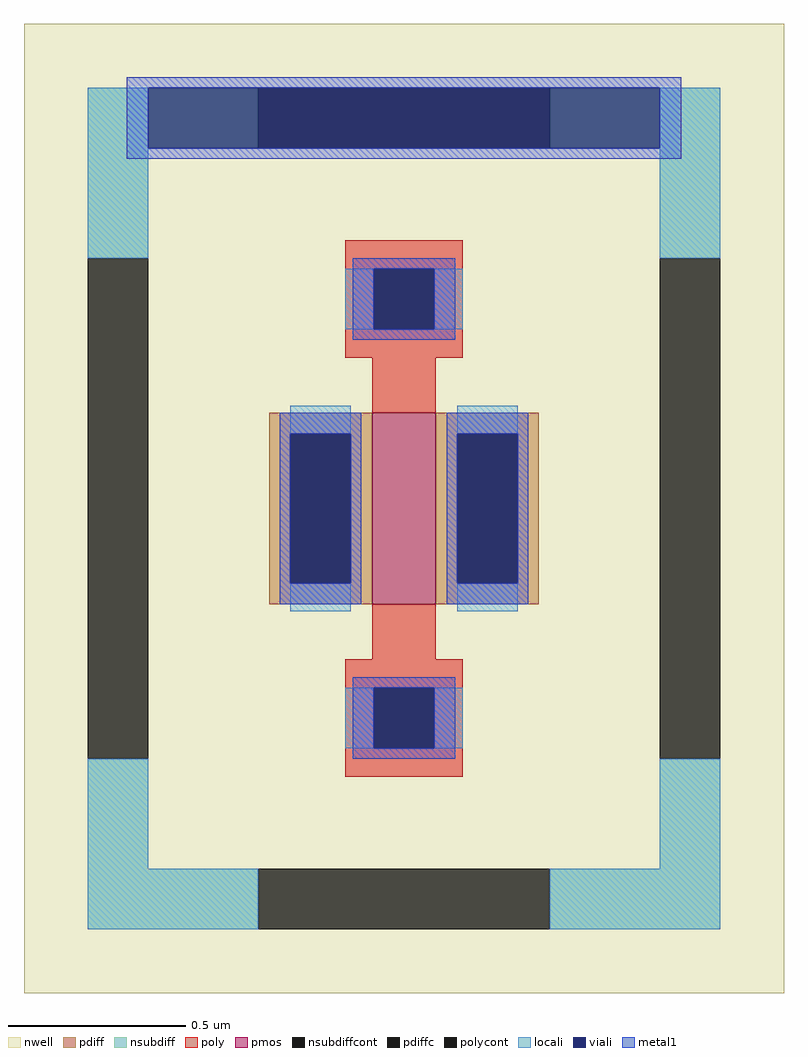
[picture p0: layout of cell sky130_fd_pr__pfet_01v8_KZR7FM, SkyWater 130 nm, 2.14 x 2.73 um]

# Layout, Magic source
magic
tech sky130A
magscale 1 2
<< nwell >>
rect -214 -273 214 273
<< pmos >>
rect -18 -54 18 54
<< pdiff >>
rect -76 42 -18 54
rect -76 -42 -64 42
rect -30 -42 -18 42
rect -76 -54 -18 -42
rect 18 42 76 54
rect 18 -42 30 42
rect 64 -42 76 42
rect 18 -54 76 -42
<< pdiffc >>
rect -64 -42 -30 42
rect 30 -42 64 42
<< nsubdiff >>
rect -178 203 -82 237
rect 82 203 178 237
rect -178 141 -144 203
rect 144 141 178 203
rect -178 -203 -144 -141
rect 144 -203 178 -141
rect -178 -237 -82 -203
rect 82 -237 178 -203
<< nsubdiffcont >>
rect -82 203 82 237
rect -178 -141 -144 141
rect 144 -141 178 141
rect -82 -237 82 -203
<< poly >>
rect -33 135 33 151
rect -33 101 -17 135
rect 17 101 33 135
rect -33 85 33 101
rect -18 54 18 85
rect -18 -85 18 -54
rect -33 -101 33 -85
rect -33 -135 -17 -101
rect 17 -135 33 -101
rect -33 -151 33 -135
<< polycont >>
rect -17 101 17 135
rect -17 -135 17 -101
<< locali >>
rect -178 141 -144 237
rect 144 141 178 237
rect -33 101 -17 135
rect 17 101 33 135
rect -64 42 -30 58
rect -64 -58 -30 -42
rect 30 42 64 58
rect 30 -58 64 -42
rect -33 -135 -17 -101
rect 17 -135 33 -101
rect -178 -203 -144 -141
rect 144 -203 178 -141
rect -178 -237 -82 -203
rect 82 -237 178 -203
<< viali >>
rect -144 203 -82 237
rect -82 203 82 237
rect 82 203 144 237
rect -17 101 17 135
rect -64 -42 -30 42
rect 30 -42 64 42
rect -17 -135 17 -101
<< metal1 >>
rect -156 237 156 243
rect -156 203 -144 237
rect 144 203 156 237
rect -156 197 156 203
rect -29 135 29 141
rect -29 101 -17 135
rect 17 101 29 135
rect -29 95 29 101
rect -70 42 -24 54
rect -70 -42 -64 42
rect -30 -42 -24 42
rect -70 -54 -24 -42
rect 24 42 70 54
rect 24 -42 30 42
rect 64 -42 70 42
rect 24 -54 70 -42
rect -29 -101 29 -95
rect -29 -135 -17 -101
rect 17 -135 29 -101
rect -29 -141 29 -135
<< properties >>
string FIXED_BBOX -161 -220 161 220
string gencell sky130_fd_pr__pfet_01v8
string library sky130
string parameters w 0.54 l 0.18 m 1 nf 1 diffcov 100 polycov 100 guard 1 glc 1 grc 1 gtc 1 gbc 1 tbcov 100 rlcov 100 topc 1 botc 1 poverlap 0 doverlap 1 lmin 0.15 wmin 0.42 compatible {sky130_fd_pr__pfet_01v8  sky130_fd_pr__pfet_01v8_lvt sky130_fd_pr__pfet_01v8_hvt  sky130_fd_pr__pfet_g5v0d10v5} full_metal 1 viasrc 100 viadrn 100 viagate 100 viagb 0 viagr 0 viagl 0 viagt 100
<< end >>
